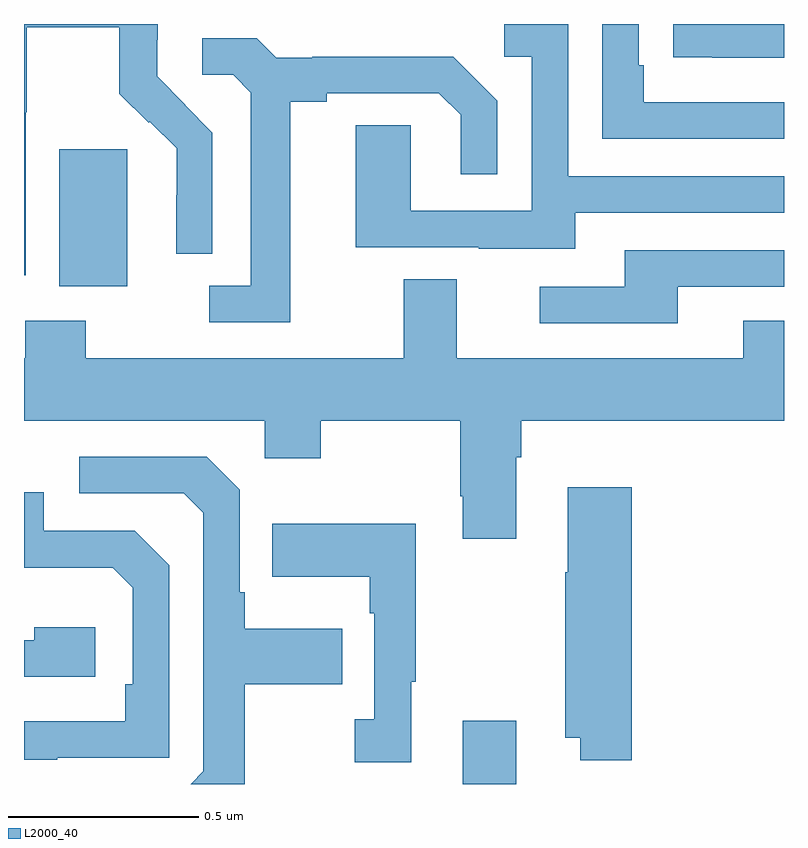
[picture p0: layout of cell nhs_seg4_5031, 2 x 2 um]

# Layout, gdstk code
import gdstk
lib = gdstk.Library(unit=1e-6, precision=1e-09)
def R(c, l, rs):  # rectangles x0, y0, x1, y1
    for r in rs: c.add(gdstk.rectangle(r[:2], r[2:], *l))
def P(c, l, *ps):  # polygons
    for p in ps: c.add(gdstk.Polygon(p, *l))
L2000_40 = (2000, 40)

nhs_seg4_5031 = lib.new_cell('nhs_seg4_5031')
R(nhs_seg4_5031, L2000_40, [(174.155,759.9,174.295,760.066), (173.093,761.21,173.272,761.571)])
P(nhs_seg4_5031, L2000_40, [(175,761.9),(174.709,761.9),(174.709,761.812),(174.811,761.812),(174.811,761.811),(175,761.811)],
  [(174.451,761.403),(175,761.403),(175,761.499),(174.432,761.499),(174.432,761.9),(174.264,761.9),(174.264,761.814),(174.336,761.814),(174.336,761.409),(174.018,761.409),(174.018,761.633),(173.873,761.633),(173.873,761.313),(174.197,761.313),(174.197,761.309),(174.451,761.309)],
  [(175,761.694),(174.631,761.694),(174.631,761.791),(174.618,761.791),(174.618,761.9),(174.522,761.9),(174.522,761.598),(175,761.598)],
  [(173.004,761.668),(173.007,761.668),(173.007,761.892),(173.251,761.892),(173.251,761.717),(173.328,761.64),(173.331,761.643),(173.402,761.573),(173.402,761.45),(173.4,761.45),(173.4,761.296),(173.496,761.296),(173.496,761.614),(173.423,761.687),(173.424,761.688),(173.35,761.762),(173.35,761.859),(173.352,761.859),(173.352,761.9),(173,761.9),(173,761.239),(173.004,761.239)],
  [(173.701,761.696),(173.797,761.696),(173.797,761.718),(174.092,761.718),(174.149,761.661),(174.149,761.505),(174.246,761.505),(174.246,761.698),(174.13,761.814),(173.758,761.814),(173.758,761.811),(173.664,761.811),(173.612,761.863),(173.469,761.863),(173.469,761.766),(173.55,761.766),(173.597,761.719),(173.597,761.211),(173.487,761.211),(173.487,761.115),(173.701,761.115)],
  [(174.721,761.208),(175,761.208),(175,761.304),(174.581,761.304),(174.581,761.208),(174.357,761.208),(174.357,761.112),(174.721,761.112)],
  [(174.295,760.76),(174.308,760.76),(174.308,760.856),(175,760.856),(175,761.119),(174.893,761.119),(174.893,761.02),(174.139,761.02),(174.139,761.228),(173.999,761.228),(173.999,761.02),(173.163,761.02),(173.163,761.119),(173.003,761.119),(173.003,761.02),(173,761.02),(173,760.856),(173.634,760.856),(173.634,760.757),(173.781,760.757),(173.781,760.856),(174.148,760.856),(174.148,760.657),(174.155,760.657),(174.155,760.545),(174.295,760.545)],
  [(173.581,760.162),(173.837,760.162),(173.837,760.309),(173.581,760.309),(173.581,760.405),(173.568,760.405),(173.568,760.674),(173.481,760.761),(173.145,760.761),(173.145,760.665),(173.421,760.665),(173.472,760.614),(173.472,759.933),(173.439,759.9),(173.581,759.9)],
  [(174.599,760.681),(174.431,760.681),(174.431,760.457),(174.424,760.457),(174.424,760.022),(174.464,760.022),(174.464,759.963),(174.599,759.963)],
  [(173.087,759.969),(173.382,759.969),(173.382,760.476),(173.292,760.566),(173.052,760.566),(173.052,760.668),(173,760.668),(173,760.469),(173.233,760.469),(173.286,760.416),(173.286,760.162),(173.266,760.162),(173.266,760.065),(173,760.065),(173,759.964),(173.087,759.964)],
  [(174.019,760.169),(174.031,760.169),(174.031,760.585),(173.653,760.585),(173.653,760.445),(173.91,760.445),(173.91,760.349),(173.922,760.349),(173.922,760.07),(173.871,760.07),(173.871,759.957),(174.019,759.957)],
  [(173.188,760.312),(173.027,760.312),(173.027,760.278),(173,760.278),(173,760.182),(173.188,760.182)])

lib.write_gds('nhs_seg4_5031.gds')
